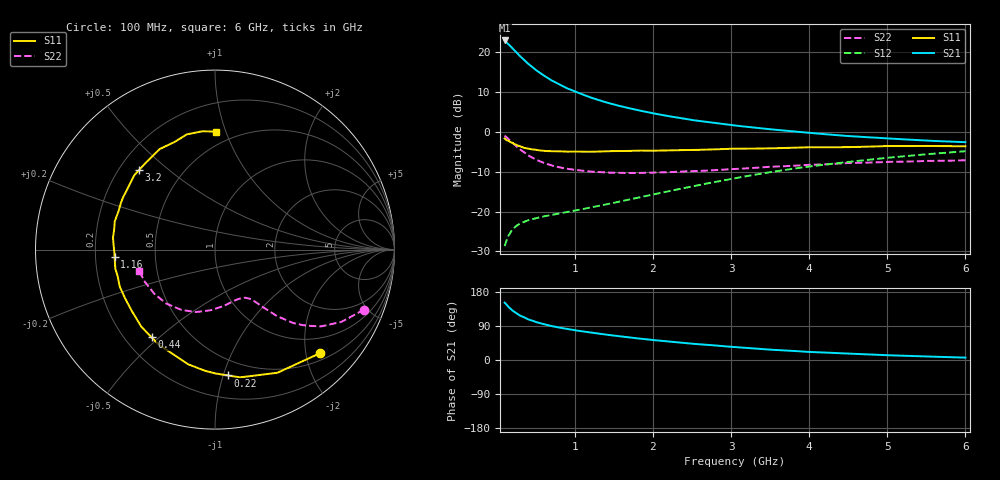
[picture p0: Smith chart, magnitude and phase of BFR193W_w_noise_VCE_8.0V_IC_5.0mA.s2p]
! Infineon Technologies  Discrete & RF Semiconductors
! BFR193W
! VCE =  8.0 V,  IC =  5.0 mA
! Common Emitter S-Parameters:  Nov 2015
# GHz  S  MA  R  50
!  f  S11  S21  S12  S22
! GHz  MAG  ANG  MAG  ANG  MAG  ANG  MAG  ANG
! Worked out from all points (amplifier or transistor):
!   192 points, 100 MHz to 6 GHz, reference 50 ohm
!   highest |S21| = 22.9 dB at 100 MHz (marker M1)
!   |S21| within 3 dB of that: start of sweep to 251.8 MHz
!   unconditionally stable (mu >= 1): 1.209 GHz to 2.596 GHz
!   at 440 MHz: K = 0.50, MSG = 19.2 dB, |S12| = -22.0 dB
!   at 1.7 GHz: K = 1.06, MAG = 9.9 dB, |S12| = -17.0 dB
!   at 6 GHz: K = 0.89, MSG = 1.1 dB, |S12| = -4.9 dB
!   lowest NFmin = 1.20 dB at 450 MHz
!   S11 on the Smith chart (normalised r, x): 100 MHz: 0.64, -2.29; 220 MHz: 0.37, -1.04; 440 MHz: 0.31, -0.47; 1.16 GHz: 0.28, -0.03; 3.2 GHz: 0.28, +0.40; 6 GHz: 0.40, +0.93
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0.1  0.8225 -44.5  13.91 151.5  0.0368 67.6  0.8954 -21.9
0.15  0.7694 -63.1  12.49 139.9  0.05 59.5  0.8106 -29.8
0.2  0.7254 -78.9  11.13 130.5  0.0593 53.4  0.7298 -35.9
0.22  0.7049 -84.1  10.61 127.7  0.062 51.5  0.6995 -37.5
0.26  0.6781 -94.5  9.658 122.0  0.067 48.4  0.6437 -40.8
0.3  0.6564 -103.1  8.799 116.9  0.0709 46.0  0.5978 -43.2
0.4  0.615 -120.8  7.116 107.3  0.0776 42.7  0.507 -47.0
0.44  0.6029 -125.9  6.632 104.8  0.0795 42.2  0.4831 -47.7
0.5  0.5941 -133.8  5.934 100.3  0.0824 41.6  0.4474 -49.0
0.56  0.581 -139.7  5.408 97.0  0.0851 41.7  0.4223 -50.0
0.7  0.5697 -151.8  4.397 89.6  0.0905 42.5  0.3779 -51.7
0.9  0.5624 -164.2  3.495 81.8  0.0987 45.4  0.3429 -53.7
1.1  0.5614 -173.4  2.931 75.6  0.1074 48.8  0.3244 -56.5
1.16  0.5605 -175.9  2.782 73.7  0.1103 49.7  0.3195 -57.3
1.52  0.572 172.2  2.165 63.8  0.1298 55.1  0.3058 -63.4
2.08  0.5803 156.7  1.645 51.2  0.1696 60.7  0.3084 -74.3
2.5  0.5905 147.8  1.4 43.0  0.2056 62.7  0.3199 -83.0
3.1  0.612 135.6  1.18 33.4  0.2664 62.1  0.3429 -97.2
3.2  0.6128 133.7  1.152 32.0  0.2775 61.6  0.3472 -99.7
4.1  0.6385 117.2  0.949 20.5  0.3765 55.6  0.3871 -121.9
5.1  0.6604 102.2  0.813 12.0  0.481 46.5  0.4195 -146.4
6  0.657 89.5  0.739 6.3  0.5694 37.0  0.4383 -163.9
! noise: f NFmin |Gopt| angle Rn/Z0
0.45  1.2  0.26  102  0.14
0.9  1.25  0.38  145  0.12
1.8  2.05  0.56  -161  0.12
